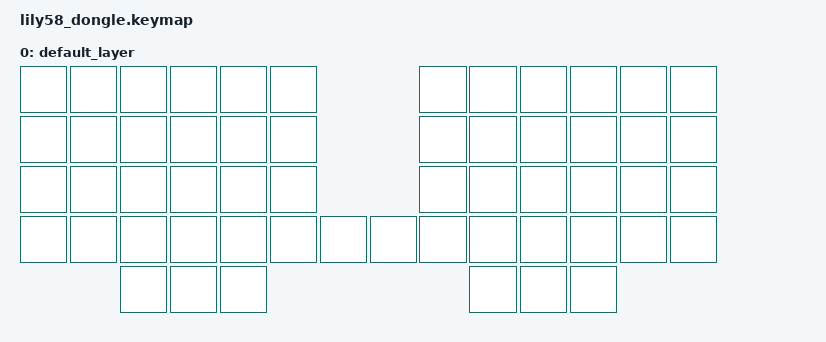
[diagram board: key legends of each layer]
/*
 * Copyright (c) 2020 The ZMK Contributors
 *
 * SPDX-License-Identifier: MIT
 */

#include <behaviors.dtsi>
#include <dt-bindings/zmk/keys.h>

/ {
    keymap {
        compatible = "zmk,keymap";

        default_layer {
            bindings = <
&none &none &none &none &none &none                   &none &none &none &none &none &none
&none &none &none &none &none &none                   &none &none &none &none &none &none
&none &none &none &none &none &none                   &none &none &none &none &none &none
&none &none &none &none &none &none &none &none       &none &none &none &none &none &none
            &none &none &none                                &none &none &none
            >;
        };
    };
};
